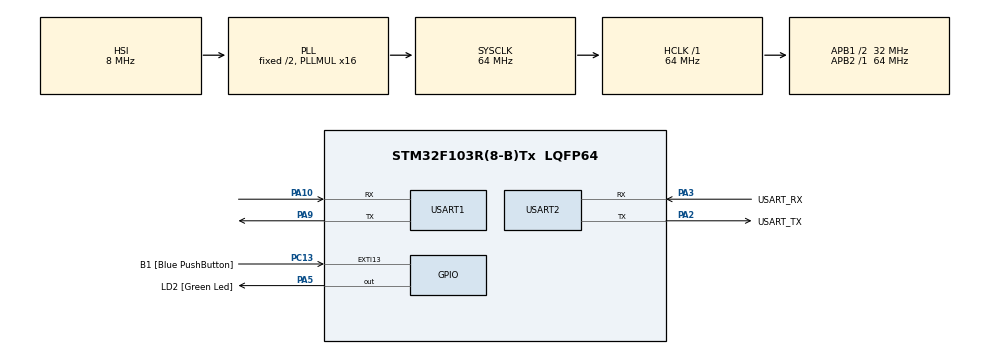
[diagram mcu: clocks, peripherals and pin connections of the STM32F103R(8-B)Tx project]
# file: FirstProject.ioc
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Mcu.Family=STM32F1
Mcu.Name=STM32F103R(8-B)Tx
Mcu.Package=LQFP64
NVIC.EXTI15_10_IRQn=true\:0\:0\:false\:false\:true\:true\:true\:true
NVIC.PriorityGroup=NVIC_PRIORITYGROUP_4
PA10.Mode=Asynchronous
PA10.Signal=USART1_RX
PA13.GPIO_Label=TMS
PA13.Mode=Serial_Wire
PA13.Signal=SYS_JTMS-SWDIO
PA14.GPIO_Label=TCK
PA14.Mode=Serial_Wire
PA14.Signal=SYS_JTCK-SWCLK
PA2.GPIO_Label=USART_TX
PA2.GPIO_Mode=GPIO_MODE_AF_PP
PA2.GPIO_PuPd=GPIO_NOPULL
PA2.GPIO_Speed=GPIO_SPEED_FREQ_LOW
PA2.Mode=Asynchronous
PA2.Signal=USART2_TX
PA3.GPIO_Label=USART_RX
PA3.GPIO_Mode=GPIO_MODE_AF_PP
PA3.GPIO_PuPd=GPIO_NOPULL
PA3.GPIO_Speed=GPIO_SPEED_FREQ_LOW
PA3.Mode=Asynchronous
PA3.Signal=USART2_RX
PA5.GPIO_Label=LD2 [Green Led]
PA5.GPIO_ModeDefaultOutputPP=GPIO_MODE_OUTPUT_PP
PA5.GPIO_PuPd=GPIO_NOPULL
PA5.GPIO_Speed=GPIO_SPEED_FREQ_LOW
PA5.Signal=GPIO_Output
PA9.Mode=Asynchronous
PA9.Signal=USART1_TX
PB3.GPIO_Label=SWO
PB3.Signal=SYS_JTDO-TRACESWO
PC13-TAMPER-RTC.GPIO_Label=B1 [Blue PushButton]
PC13-TAMPER-RTC.GPIO_PuPd=GPIO_NOPULL
PC13-TAMPER-RTC.Signal=GPXTI13
PC14-OSC32_IN.Mode=LSE-External-Oscillator
PC14-OSC32_IN.Signal=RCC_OSC32_IN
PC15-OSC32_OUT.Mode=LSE-External-Oscillator
PC15-OSC32_OUT.Signal=RCC_OSC32_OUT
PD0-OSC_IN.Mode=HSE-External-Clock-Source
PD0-OSC_IN.Signal=RCC_OSC_IN
PD1-OSC_OUT.Mode=HSE-External-Clock-Source
PD1-OSC_OUT.Signal=RCC_OSC_OUT
ProjectManager.HeapSize=0x200
ProjectManager.StackSize=0x400
ProjectManager.TargetToolchain=STM32CubeIDE
RCC.AHBFreq_Value=64000000
RCC.APB1CLKDivider=RCC_HCLK_DIV2
RCC.APB1Freq_Value=32000000
RCC.APB1TimFreq_Value=64000000
RCC.APB2Freq_Value=64000000
RCC.APB2TimFreq_Value=64000000
RCC.HCLKFreq_Value=64000000
RCC.PLLMUL=RCC_PLL_MUL16
RCC.RTCClockSelection=RCC_RTCCLKSOURCE_LSE
RCC.SYSCLKFreq_VALUE=64000000
RCC.SYSCLKSource=RCC_SYSCLKSOURCE_PLLCLK
RCC.USBFreq_Value=64000000
USART1.VirtualMode=VM_ASYNC
USART2.VirtualMode=VM_ASYNC
board=NUCLEO-F103RB

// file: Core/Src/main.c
/* USER CODE BEGIN Header */
/**
  ******************************************************************************
  * @file           : main.c
  * @brief          : Main program body
  ******************************************************************************
  * @attention
  *
  * Copyright (c) 2025 STMicroelectronics.
  * All rights reserved.
  *
  * This software is licensed under terms that can be found in the LICENSE file
  * in the root directory of this software component.
  * If no LICENSE file comes with this software, it is provided AS-IS.
  *
  ******************************************************************************
  */
/* USER CODE END Header */
#include "main.h"

UART_HandleTypeDef huart1;
UART_HandleTypeDef huart2;
uint8_t rxData;
char tabla[]={'-','-','-','-','-','-','-','-','-'};

void SystemClock_Config(void);
static void MX_GPIO_Init(void);
static void MX_USART2_UART_Init(void);
static void MX_USART1_UART_Init(void);
static void afisare(void);
static _Bool victorie(void);
static void sendString(char *str);
static void mutareX();
static void mutare0();
char readChar();

int main(void)
{

  /* MCU Configuration--------------------------------------------------------*/

  /* Reset of all peripherals, Initializes the Flash interface and the Systick. */
  HAL_Init();

  /* Configure the system clock */
  SystemClock_Config();

  /* Initialize all configured peripherals */
  MX_GPIO_Init();
  MX_USART2_UART_Init();
  MX_USART1_UART_Init();

  /* Infinite loop */
  /* USER CODE BEGIN WHILE */
  while (1)
  {
	  sendString("Salut!\n");
	  sendString("Tu vei muta primul - esti cu X.\n");
	  sendString("Tabla de joc are pozitiile numerotate de la 1 la 9.\n");
	  sendString("1 2 3\n");
	  sendString("4 5 6\n");
	  sendString("7 8 9\n");

	  do{
		  mutareX();
		  if (victorie()) break;
		  mutare0();
		  afisare();
	  } while(!victorie());

	  HAL_Delay(5000);

	  for (int i=0; i<100; i++){
		  sendString("\n");
	  }
	  for (int i=0; i<9; i++){
		  	 tabla[i]='-';
	  }

    /* USER CODE END WHILE */

  }
}

void SystemClock_Config(void)
{
  RCC_OscInitTypeDef RCC_OscInitStruct = {0};
  RCC_ClkInitTypeDef RCC_ClkInitStruct = {0};

  /** Initializes the RCC Oscillators according to the specified parameters
  * in the RCC_OscInitTypeDef structure.
  */
  RCC_OscInitStruct.OscillatorType = RCC_OSCILLATORTYPE_HSI;
  RCC_OscInitStruct.HSIState = RCC_HSI_ON;
  RCC_OscInitStruct.HSICalibrationValue = RCC_HSICALIBRATION_DEFAULT;
  RCC_OscInitStruct.PLL.PLLState = RCC_PLL_ON;
  RCC_OscInitStruct.PLL.PLLSource = RCC_PLLSOURCE_HSI_DIV2;
  RCC_OscInitStruct.PLL.PLLMUL = RCC_PLL_MUL16;
  if (HAL_RCC_OscConfig(&RCC_OscInitStruct) != HAL_OK)
  {
    Error_Handler();
  }

  /** Initializes the CPU, AHB and APB buses clocks
  */
  RCC_ClkInitStruct.ClockType = RCC_CLOCKTYPE_HCLK|RCC_CLOCKTYPE_SYSCLK
                              |RCC_CLOCKTYPE_PCLK1|RCC_CLOCKTYPE_PCLK2;
  RCC_ClkInitStruct.SYSCLKSource = RCC_SYSCLKSOURCE_PLLCLK;
  RCC_ClkInitStruct.AHBCLKDivider = RCC_SYSCLK_DIV1;
  RCC_ClkInitStruct.APB1CLKDivider = RCC_HCLK_DIV2;
  RCC_ClkInitStruct.APB2CLKDivider = RCC_HCLK_DIV1;

  if (HAL_RCC_ClockConfig(&RCC_ClkInitStruct, FLASH_LATENCY_2) != HAL_OK)
  {
    Error_Handler();
  }
}

static void MX_USART1_UART_Init(void)
{

  huart1.Instance = USART1;
  huart1.Init.BaudRate = 115200;
  huart1.Init.WordLength = UART_WORDLENGTH_8B;
  huart1.Init.StopBits = UART_STOPBITS_1;
  huart1.Init.Parity = UART_PARITY_NONE;
  huart1.Init.Mode = UART_MODE_TX_RX;
  huart1.Init.HwFlowCtl = UART_HWCONTROL_NONE;
  huart1.Init.OverSampling = UART_OVERSAMPLING_16;
  if (HAL_UART_Init(&huart1) != HAL_OK)
  {
    Error_Handler();
  }

}

static void MX_USART2_UART_Init(void)
{

  huart2.Instance = USART2;
  huart2.Init.BaudRate = 115200;
  huart2.Init.WordLength = UART_WORDLENGTH_8B;
  huart2.Init.StopBits = UART_STOPBITS_1;
  huart2.Init.Parity = UART_PARITY_NONE;
  huart2.Init.Mode = UART_MODE_TX_RX;
  huart2.Init.HwFlowCtl = UART_HWCONTROL_NONE;
  huart2.Init.OverSampling = UART_OVERSAMPLING_16;
  if (HAL_UART_Init(&huart2) != HAL_OK)
  {
    Error_Handler();
  }

}

static void MX_GPIO_Init(void)
{
  GPIO_InitTypeDef GPIO_InitStruct = {0};

  /* GPIO Ports Clock Enable */
  __HAL_RCC_GPIOC_CLK_ENABLE();
  __HAL_RCC_GPIOD_CLK_ENABLE();
  __HAL_RCC_GPIOA_CLK_ENABLE();
  __HAL_RCC_GPIOB_CLK_ENABLE();

  /*Configure GPIO pin Output Level */
  HAL_GPIO_WritePin(LD2_GPIO_Port, LD2_Pin, GPIO_PIN_RESET);

  /*Configure GPIO pin : B1_Pin */
  GPIO_InitStruct.Pin = B1_Pin;
  GPIO_InitStruct.Mode = GPIO_MODE_IT_RISING;
  GPIO_InitStruct.Pull = GPIO_NOPULL;
  HAL_GPIO_Init(B1_GPIO_Port, &GPIO_InitStruct);

  /*Configure GPIO pin : LD2_Pin */
  GPIO_InitStruct.Pin = LD2_Pin;
  GPIO_InitStruct.Mode = GPIO_MODE_OUTPUT_PP;
  GPIO_InitStruct.Pull = GPIO_NOPULL;
  GPIO_InitStruct.Speed = GPIO_SPEED_FREQ_LOW;
  HAL_GPIO_Init(LD2_GPIO_Port, &GPIO_InitStruct);

  /* EXTI interrupt init*/
  HAL_NVIC_SetPriority(EXTI15_10_IRQn, 0, 0);
  HAL_NVIC_EnableIRQ(EXTI15_10_IRQn);

}

/* USER CODE BEGIN 4 */

static void sendString(char *str)
{
	HAL_UART_Transmit(&huart2, (uint8_t*)str, strlen(str), HAL_MAX_DELAY);
}

void afisare()
{
    char msg[20];
    int index = 0;

    for (int i = 0; i < 9; i++)
    {
        msg[index++] = tabla[i];
        msg[index++] = ' ';

        if (i == 2 || i == 5 || i == 8)
        {
            msg[index - 1] = '\n';
        }
    }
    msg[index] = '\0';

    sendString(msg);
}

char readChar()
{
    char chr;

    if (HAL_UART_Receive(&huart2, (uint8_t*)&chr, 1, 10) == HAL_OK)  // Timeout 10ms
    {
        return chr;
    }

    return '\0';
}

_Bool victorie()
{
  char winner = '-';
	uint8_t i;

  if (tabla[0]==tabla[1] && tabla[1]==tabla[2]) winner=tabla[0]; // linie 1
  if (tabla[3]==tabla[4] && tabla[4]==tabla[5]) winner=tabla[3]; // linie 2
  if (tabla[6]==tabla[7] && tabla[7]==tabla[8]) winner=tabla[6]; // linie 3
  if (tabla[0]==tabla[3] && tabla[3]==tabla[6]) winner=tabla[0]; // coloana 1
  if (tabla[1]==tabla[4] && tabla[4]==tabla[7]) winner=tabla[1]; // coloana 2
  if (tabla[2]==tabla[5] && tabla[5]==tabla[8]) winner=tabla[2]; // coloana 3
  if (tabla[0]==tabla[4] && tabla[4]==tabla[8]) winner=tabla[0]; // diagonala principala
  if (tabla[2]==tabla[4] && tabla[4]==tabla[6]) winner=tabla[2]; // diagonala secundara

  if (winner =='-')
	{
    winner = '*';
    for (i=0; i<9; i++)
      if (tabla[i]=='-')
				winner='-';
  }

  if (winner=='-')
		return 0;

  else
	{
     if (winner == 'X')
		 {
       afisare();
       sendString("Ati castigat! Felicitari!\n");
     }
     if (winner == '0')
			 sendString("Nucleo a castigat! Mai incercati!\n");

     if (winner == '*')
			 sendString("Remiza! Plictisitor!\n");

     return 1;
   }
}

static void mutareX()
{
   _Bool valid = 0;
   uint8_t m0 = 0;
   while (!valid)
	 {
     sendString("Alege o pozitie de la 1 la 9.\n");
     while (m0<'1' || m0>'9')
		 {
       m0 = readChar();
       HAL_Delay(1000);
     }

     sendString("Ati ales pozitia: \n");
     char mut[2];
     mut[0] = m0;
     mut[1] = '\0';
     sendString(mut);
		 m0 = m0 - 48;
     sendString("\n");

     if (tabla[m0-1]!='-')
				sendString("Pozitie eronata!\n");

		 else
		 {
       tabla[m0-1]='X';
       valid = 1;
     }

   }
}

static void mutare0()
{
	int plasat;
	for(int i = 0; i < 9; i++){
			plasat = 0;
			if(tabla[i] == '-')
			{
					tabla[i] = 'X';
				  char winner = '-';
					if (tabla[0]==tabla[1] && tabla[1]==tabla[2] && tabla[0] == 'X') {winner='X';}// linie 1
					if (tabla[3]==tabla[4] && tabla[4]==tabla[5] && tabla[3] == 'X') winner='X'; // linie 2
					if (tabla[6]==tabla[7] && tabla[7]==tabla[8] && tabla[6] == 'X') winner='X'; // linie 3
					if (tabla[0]==tabla[3] && tabla[3]==tabla[6] && tabla[0] == 'X') winner='X'; // coloana 1
					if (tabla[1]==tabla[4] && tabla[4]==tabla[7] && tabla[1] == 'X') winner='X'; // coloana 2
					if (tabla[2]==tabla[5] && tabla[5]==tabla[8] && tabla[2] == 'X') winner='X'; // coloana 3
					if (tabla[0]==tabla[4] && tabla[4]==tabla[8] && tabla[0] == 'X') winner='X'; // diagonala principala
					if (tabla[2]==tabla[4] && tabla[4]==tabla[6] && tabla[2] == 'X') winner='X'; // diagonala secundara
					if(winner == 'X')
					{
						tabla[i] = '0';
						plasat = 1;
						break;
					}
					else
					{
						tabla[i] = '-';
					}
			}

	}
	if(plasat == 0){
		int i=-1;
		while (i==-1)
		{
			i = rand()%9;
			if (tabla[i]=='-')
			{
					tabla[i]='0';
					sendString("Nucleo a ales pozitia: \n");
					char aux[2];
					aux[0] = i + 1 + '0';
					aux[1] = '\0';
					sendString(aux);
					sendString("\n");
					break;
			}
			else i=-1;
		}
	}

}
/* USER CODE END 4 */

void Error_Handler(void)
{
  __disable_irq();
  while (1)
  {
  }
}
